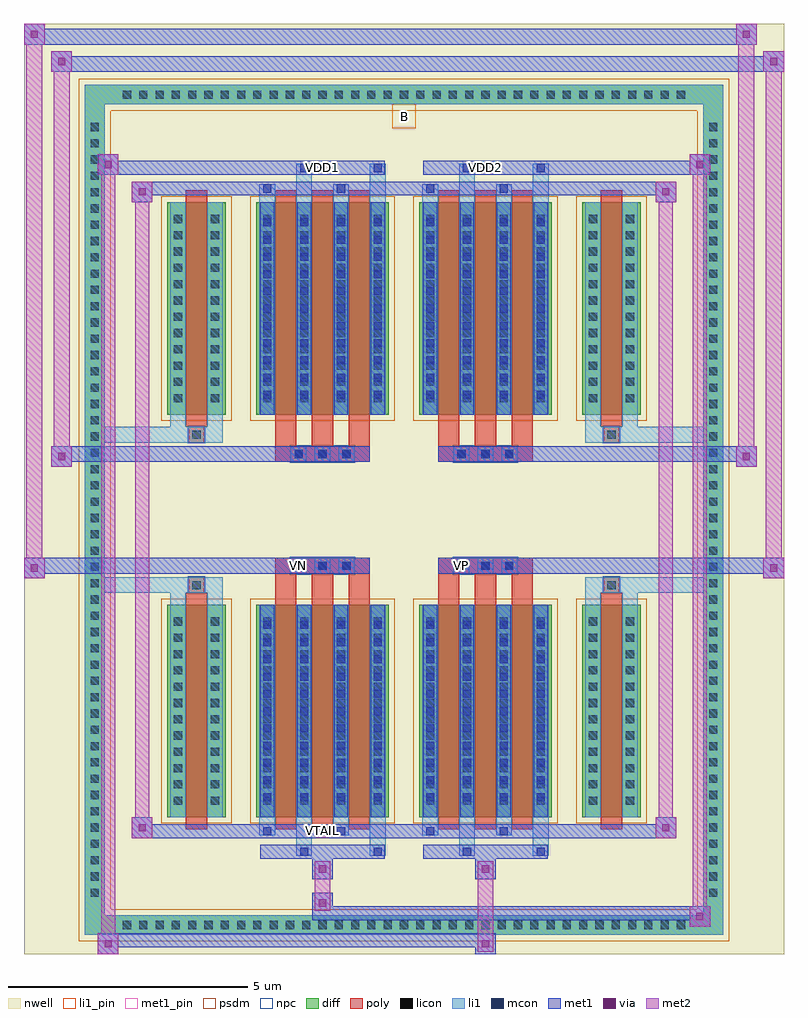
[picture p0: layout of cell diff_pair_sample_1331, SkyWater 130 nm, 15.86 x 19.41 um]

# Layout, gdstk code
import gdstk
lib = gdstk.Library(unit=1e-6, precision=5e-09)
def R(c, l, rs):  # rectangles x0, y0, x1, y1
    for r in rs: c.add(gdstk.rectangle(r[:2], r[2:], *l))
def A(c, l, x, y, w, h, nx, ny, dx, dy):  # array of equal rectangles
    R(c, l, [(x+i*dx, y+j*dy, x+i*dx+w, y+j*dy+h) for i in range(nx) for j in range(ny)])
def P(c, l, *ps):  # polygons
    for p in ps: c.add(gdstk.Polygon(p, *l))
nwell = (64, 20)
diff = (65, 20)
poly = (66, 20)
licon = (66, 44)
li1_pin = (67, 16)
li1 = (67, 20)
mcon = (67, 44)
met1_pin = (68, 16)
met1 = (68, 20)
via = (68, 44)
met2 = (69, 20)
psdm = (94, 20)
npc = (95, 20)

diff_pair_sample_1331 = lib.new_cell('diff_pair_sample_1331')
R(diff_pair_sample_1331, nwell, [(-7.93,-9.27,7.93,10.14), (-5.25,-7.46,-0.01,-0.8), (0.01,-7.46,5.25,-0.8), (-5.25,0.8,-0.01,7.46), (0.01,0.8,5.25,7.46)])
A(diff_pair_sample_1331, diff, -5.985, -8.87, 0.41, 0.41, 35, 2, 0.34, 17.33)
A(diff_pair_sample_1331, diff, -6.66, -8.195, 0.41, 0.41, 1, 48, 0, 0.34)
A(diff_pair_sample_1331, diff, 6.25, -8.195, 0.41, 0.41, 1, 48, 0, 0.34)
R(diff_pair_sample_1331, diff, [(-5.985,-8.87,5.985,-8.46), (-6.66,-8.195,-6.25,8.195), (6.25,-8.195,6.66,8.195), (-4.94,-6.415,-3.72,-1.985), (-3.08,-6.415,-0.32,-1.985), (0.32,-6.415,3.08,-1.985), (3.72,-6.415,4.94,-1.985), (-4.94,1.985,-3.72,6.415), (-3.08,1.985,-0.32,6.415), (0.32,1.985,3.08,6.415), (3.72,1.985,4.94,6.415), (-5.985,8.46,5.985,8.87)])
P(diff_pair_sample_1331, diff, [(6.66,8.87),(-6.66,8.87),(-6.66,-8.46),(-6.25,-8.46),(-6.25,8.46),(6.25,8.46),(6.25,-8.46),(-6.25,-8.46),(-6.66,-8.46),(-6.66,-8.87),(6.66,-8.87)])
A(diff_pair_sample_1331, poly, -2.69, -6.665, 0.44, 4.93, 3, 2, 0.77, 8.4)
A(diff_pair_sample_1331, poly, 0.71, -6.665, 0.44, 4.93, 3, 2, 0.77, 8.4)
A(diff_pair_sample_1331, poly, -2.69, -1.735, 0.44, 0.405, 3, 2, 0.77, 3.065)
A(diff_pair_sample_1331, poly, 0.71, -1.735, 0.44, 0.405, 3, 2, 0.77, 3.065)
A(diff_pair_sample_1331, poly, -2.365, -1.33, 0.33, 0.33, 3, 2, 0.5, 2.33)
A(diff_pair_sample_1331, poly, 1.035, -1.33, 0.33, 0.33, 3, 2, 0.5, 2.33)
R(diff_pair_sample_1331, poly, [(-4.55,-6.665,-4.11,-1.735), (4.11,-6.665,4.55,-1.735), (-4.495,-1.735,-4.165,-1.405), (-4.495,-1.735,-4.165,-1.405), (4.165,-1.735,4.495,-1.405), (4.165,-1.735,4.495,-1.405), (-2.69,-1.33,-0.71,-1), (0.71,-1.33,2.69,-1), (-2.69,1,-0.71,1.33), (0.71,1,2.69,1.33), (-4.495,1.405,-4.165,1.735), (-4.495,1.405,-4.165,1.735), (4.165,1.405,4.495,1.735), (4.165,1.405,4.495,1.735), (-4.55,1.735,-4.11,6.665), (4.11,1.735,4.55,6.665)])
A(diff_pair_sample_1331, licon, -5.865, -8.75, 0.17, 0.17, 35, 2, 0.34, 17.33)
A(diff_pair_sample_1331, licon, -6.54, -8.075, 0.17, 0.17, 1, 48, 0, 0.34)
A(diff_pair_sample_1331, licon, 6.37, -8.075, 0.17, 0.17, 1, 48, 0, 0.34)
A(diff_pair_sample_1331, licon, -4.8, -6.155, 0.17, 0.17, 1, 12, 0, 0.34)
A(diff_pair_sample_1331, licon, -4.03, -6.155, 0.17, 0.17, 1, 12, 0, 0.34)
A(diff_pair_sample_1331, licon, -2.94, -6.155, 0.17, 0.17, 4, 12, 0.77, 0.34)
A(diff_pair_sample_1331, licon, 0.46, -6.155, 0.17, 0.17, 4, 12, 0.77, 0.34)
A(diff_pair_sample_1331, licon, 3.86, -6.155, 0.17, 0.17, 1, 12, 0, 0.34)
A(diff_pair_sample_1331, licon, 4.63, -6.155, 0.17, 0.17, 1, 12, 0, 0.34)
A(diff_pair_sample_1331, licon, -2.285, -1.25, 0.17, 0.17, 3, 2, 0.5, 2.33)
A(diff_pair_sample_1331, licon, 1.115, -1.25, 0.17, 0.17, 3, 2, 0.5, 2.33)
A(diff_pair_sample_1331, licon, -4.8, 2.245, 0.17, 0.17, 1, 12, 0, 0.34)
A(diff_pair_sample_1331, licon, -4.03, 2.245, 0.17, 0.17, 1, 12, 0, 0.34)
A(diff_pair_sample_1331, licon, -2.94, 2.245, 0.17, 0.17, 4, 12, 0.77, 0.34)
A(diff_pair_sample_1331, licon, 0.46, 2.245, 0.17, 0.17, 4, 12, 0.77, 0.34)
A(diff_pair_sample_1331, licon, 3.86, 2.245, 0.17, 0.17, 1, 12, 0, 0.34)
A(diff_pair_sample_1331, licon, 4.63, 2.245, 0.17, 0.17, 1, 12, 0, 0.34)
R(diff_pair_sample_1331, licon, [(-4.415,-1.655,-4.245,-1.485), (4.245,-1.655,4.415,-1.485), (-4.415,1.485,-4.245,1.655), (4.245,1.485,4.415,1.655)])
R(diff_pair_sample_1331, li1_pin, [(-0.25,7.96,0.25,8.46)])
A(diff_pair_sample_1331, li1, -5.945, -8.83, 0.33, 0.33, 35, 2, 0.34, 17.33)
A(diff_pair_sample_1331, li1, -6.62, -8.155, 0.33, 0.33, 1, 48, 0, 0.34)
A(diff_pair_sample_1331, li1, 6.29, -8.155, 0.33, 0.33, 1, 48, 0, 0.34)
A(diff_pair_sample_1331, li1, -3.02, -6.415, 0.33, 4.43, 4, 2, 0.77, 8.4)
A(diff_pair_sample_1331, li1, 0.38, -6.415, 0.33, 4.43, 4, 2, 0.77, 8.4)
A(diff_pair_sample_1331, li1, -4.88, -6.235, 0.33, 0.33, 1, 12, 0, 0.34)
A(diff_pair_sample_1331, li1, -4.11, -6.235, 0.33, 0.33, 1, 12, 0, 0.34)
A(diff_pair_sample_1331, li1, -3.02, -6.235, 0.33, 0.33, 4, 12, 0.77, 0.34)
A(diff_pair_sample_1331, li1, 0.38, -6.235, 0.33, 0.33, 4, 12, 0.77, 0.34)
A(diff_pair_sample_1331, li1, 3.78, -6.235, 0.33, 0.33, 1, 12, 0, 0.34)
A(diff_pair_sample_1331, li1, 4.55, -6.235, 0.33, 0.33, 1, 12, 0, 0.34)
A(diff_pair_sample_1331, li1, -2.94, -6.085, 0.17, 0.17, 4, 11, 0.77, 0.36)
A(diff_pair_sample_1331, li1, -2.94, -6.085, 0.17, 3.77, 4, 2, 0.77, 8.4)
A(diff_pair_sample_1331, li1, 0.46, -6.085, 0.17, 0.17, 4, 11, 0.77, 0.36)
A(diff_pair_sample_1331, li1, 0.46, -6.085, 0.17, 3.77, 4, 2, 0.77, 8.4)
A(diff_pair_sample_1331, li1, -2.365, -1.33, 0.33, 0.33, 3, 2, 0.5, 2.33)
A(diff_pair_sample_1331, li1, 1.035, -1.33, 0.33, 0.33, 3, 2, 0.5, 2.33)
A(diff_pair_sample_1331, li1, -4.88, 2.165, 0.33, 0.33, 1, 12, 0, 0.34)
A(diff_pair_sample_1331, li1, -4.11, 2.165, 0.33, 0.33, 1, 12, 0, 0.34)
A(diff_pair_sample_1331, li1, -3.02, 2.165, 0.33, 0.33, 4, 12, 0.77, 0.34)
A(diff_pair_sample_1331, li1, 0.38, 2.165, 0.33, 0.33, 4, 12, 0.77, 0.34)
A(diff_pair_sample_1331, li1, 3.78, 2.165, 0.33, 0.33, 1, 12, 0, 0.34)
A(diff_pair_sample_1331, li1, 4.55, 2.165, 0.33, 0.33, 1, 12, 0, 0.34)
A(diff_pair_sample_1331, li1, -2.94, 2.315, 0.17, 0.17, 4, 11, 0.77, 0.36)
A(diff_pair_sample_1331, li1, 0.46, 2.315, 0.17, 0.17, 4, 11, 0.77, 0.36)
R(diff_pair_sample_1331, li1, [(-6.66,-8.87,-6.25,-8.46), (-6.66,-8.87,-6.25,-8.46), (-6.25,-8.87,6.25,-8.46), (6.25,-8.87,6.66,-8.46), (6.25,-8.87,6.66,-8.46), (-6.66,-8.46,-6.25,8.46), (6.25,-8.46,6.66,8.46), (-2.25,-7.22,-1.92,-6.415), (-2.17,-7.22,-2,-7.05), (-0.71,-7.22,-0.38,-6.415), (-0.63,-7.22,-0.46,-7.05), (1.15,-7.22,1.48,-6.415), (1.23,-7.22,1.4,-7.05), (2.69,-7.22,3.02,-6.415), (2.77,-7.22,2.94,-7.05), (-3.02,-6.79,-2.69,-6.415), (-2.94,-6.79,-2.77,-6.62), (-1.48,-6.79,-1.15,-6.415), (-1.4,-6.79,-1.23,-6.62), (0.38,-6.79,0.71,-6.415), (0.46,-6.79,0.63,-6.62), (1.92,-6.79,2.25,-6.415), (2,-6.79,2.17,-6.62), (-4.88,-6.415,-4.55,-1.985), (-4.11,-6.415,-3.78,-1.985), (3.78,-6.415,4.11,-1.985), (4.55,-6.415,4.88,-1.985), (-4.88,-1.985,-4.55,-1.405), (-4.11,-1.985,-3.78,-1.405), (3.78,-1.985,4.11,-1.405), (4.55,-1.985,4.88,-1.405), (-6.66,-1.735,-4.495,-1.405), (-4.88,-1.735,-4.495,-1.405), (-4.495,-1.735,-4.165,-1.405), (-4.165,-1.735,-3.78,-1.405), (3.78,-1.735,4.165,-1.405), (4.165,-1.735,4.495,-1.405), (4.165,-1.735,6.66,-1.405), (4.495,-1.735,4.88,-1.405), (-6.66,1.405,-4.495,1.735), (-4.88,1.405,-4.495,1.735), (-4.88,1.405,-4.55,1.985), (-4.495,1.405,-4.165,1.735), (-4.165,1.405,-3.78,1.735), (-4.11,1.405,-3.78,1.985), (3.78,1.405,4.165,1.735), (3.78,1.405,4.11,1.985), (4.165,1.405,4.495,1.735), (4.165,1.405,6.66,1.735), (4.495,1.405,4.88,1.735), (4.55,1.405,4.88,1.985), (-4.88,1.985,-4.55,6.415), (-4.11,1.985,-3.78,6.415), (3.78,1.985,4.11,6.415), (4.55,1.985,4.88,6.415), (-3.02,6.415,-2.69,6.79), (-2.25,6.415,-1.92,7.22), (-1.48,6.415,-1.15,6.79), (-0.71,6.415,-0.38,7.22), (0.38,6.415,0.71,6.79), (1.15,6.415,1.48,7.22), (1.92,6.415,2.25,6.79), (2.69,6.415,3.02,7.22), (-2.94,6.62,-2.77,6.79), (-1.4,6.62,-1.23,6.79), (0.46,6.62,0.63,6.79), (2,6.62,2.17,6.79), (-2.17,7.05,-2,7.22), (-0.63,7.05,-0.46,7.22), (1.23,7.05,1.4,7.22), (2.77,7.05,2.94,7.22), (-6.66,8.46,-6.25,8.87), (-6.66,8.46,-6.25,8.87), (-6.25,8.46,6.25,8.87), (6.25,8.46,6.66,8.87), (6.25,8.46,6.66,8.87)])
A(diff_pair_sample_1331, mcon, -2.94, -6.085, 0.17, 0.17, 4, 11, 0.77, 0.36)
A(diff_pair_sample_1331, mcon, 0.46, -6.085, 0.17, 0.17, 4, 11, 0.77, 0.36)
A(diff_pair_sample_1331, mcon, -2.285, -1.25, 0.17, 0.17, 3, 2, 0.5, 2.33)
A(diff_pair_sample_1331, mcon, 1.115, -1.25, 0.17, 0.17, 3, 2, 0.5, 2.33)
A(diff_pair_sample_1331, mcon, -2.94, 2.315, 0.17, 0.17, 4, 11, 0.77, 0.36)
A(diff_pair_sample_1331, mcon, 0.46, 2.315, 0.17, 0.17, 4, 11, 0.77, 0.36)
R(diff_pair_sample_1331, mcon, [(-2.17,-7.22,-2,-7.05), (-0.63,-7.22,-0.46,-7.05), (1.23,-7.22,1.4,-7.05), (2.77,-7.22,2.94,-7.05), (-2.94,-6.79,-2.77,-6.62), (-1.4,-6.79,-1.23,-6.62), (0.46,-6.79,0.63,-6.62), (2,-6.79,2.17,-6.62), (-2.94,6.62,-2.77,6.79), (-1.4,6.62,-1.23,6.79), (0.46,6.62,0.63,6.79), (2,6.62,2.17,6.79), (-2.17,7.05,-2,7.22), (-0.63,7.05,-0.46,7.22), (1.23,7.05,1.4,7.22), (2.77,7.05,2.94,7.22)])
R(diff_pair_sample_1331, met1_pin, [(-1.835,-6.83,-1.565,-6.56), (-2.335,-1.29,-2.065,-1.02), (1.065,-1.29,1.335,-1.02), (-1.835,7.01,-1.565,7.28), (1.565,7.01,1.835,7.28)])
A(diff_pair_sample_1331, met1, -3, -6.415, 0.29, 4.43, 4, 2, 0.77, 8.4)
A(diff_pair_sample_1331, met1, 0.4, -6.415, 0.29, 4.43, 4, 2, 0.77, 8.4)
A(diff_pair_sample_1331, met1, -3, -6.145, 0.29, 0.29, 4, 11, 0.77, 0.36)
A(diff_pair_sample_1331, met1, 0.4, -6.145, 0.29, 0.29, 4, 11, 0.77, 0.36)
A(diff_pair_sample_1331, met1, -2.345, -1.31, 0.29, 0.29, 3, 2, 0.5, 2.33)
A(diff_pair_sample_1331, met1, 1.055, -1.31, 0.29, 0.29, 3, 2, 0.5, 2.33)
A(diff_pair_sample_1331, met1, -3, 2.255, 0.29, 0.29, 4, 11, 0.77, 0.36)
A(diff_pair_sample_1331, met1, 0.4, 2.255, 0.29, 0.29, 4, 11, 0.77, 0.36)
R(diff_pair_sample_1331, met1, [(-6.39,-9.27,-5.96,-8.84), (1.485,-9.27,1.915,-8.84), (-6.39,-9.13,1.915,-8.84), (5.96,-8.7,6.39,-8.27), (-1.915,-8.56,6.39,-8.27), (-1.915,-8.42,-1.485,-7.99), (-1.915,-7.71,-1.485,-7.28), (1.485,-7.71,1.915,-7.28), (-3,-7.28,-0.4,-6.99), (-2.23,-7.28,-1.94,-6.99), (-0.69,-7.28,-0.4,-6.99), (0.4,-7.28,3,-6.99), (1.17,-7.28,1.46,-6.99), (2.71,-7.28,3,-6.99), (-5.68,-6.85,-5.25,-6.42), (-5.68,-6.85,-3,-6.56), (-3,-6.85,-2.71,-6.56), (-3,-6.85,-0.4,-6.56), (-1.46,-6.85,-1.17,-6.56), (-0.4,-6.85,0.4,-6.56), (0.4,-6.85,0.69,-6.56), (0.4,-6.85,3,-6.56), (1.94,-6.85,2.23,-6.56), (3,-6.85,5.68,-6.56), (5.25,-6.85,5.68,-6.42), (-7.93,-1.43,-7.5,-1), (7.5,-1.43,7.93,-1), (-7.93,-1.33,-0.71,-1), (-2.69,-1.33,-0.71,-1), (0.71,-1.33,2.69,-1), (0.71,-1.33,7.93,-1), (-7.36,0.9,-6.93,1.33), (6.93,0.9,7.36,1.33), (-7.36,1,-2.69,1.33), (-2.69,1,-0.71,1.33), (0.71,1,2.69,1.33), (2.69,1,7.36,1.33), (-5.68,6.42,-5.25,6.85), (5.25,6.42,5.68,6.85), (-5.68,6.56,-3,6.85), (-3,6.56,-2.71,6.85), (-3,6.56,-0.4,6.85), (-1.46,6.56,-1.17,6.85), (-0.4,6.56,0.4,6.85), (0.4,6.56,0.69,6.85), (0.4,6.56,3,6.85), (1.94,6.56,2.23,6.85), (3,6.56,5.68,6.85), (-6.39,6.99,-5.96,7.42), (-6.39,6.99,-3,7.28), (-3,6.99,-0.4,7.28), (-2.23,6.99,-1.94,7.28), (-0.69,6.99,-0.4,7.28), (0.4,6.99,3,7.28), (1.17,6.99,1.46,7.28), (2.71,6.99,3,7.28), (3,6.99,6.39,7.28), (5.96,6.99,6.39,7.42), (-7.36,9.14,-6.93,9.57), (-7.36,9.14,-5.25,9.47), (-5.25,9.14,5.25,9.47), (5.25,9.14,7.93,9.47), (7.5,9.14,7.93,9.57), (-7.93,9.71,-7.5,10.14), (-7.93,9.71,-5.25,10.04), (-5.25,9.71,5.25,10.04), (5.25,9.71,7.36,10.04), (6.93,9.71,7.36,10.14)])
R(diff_pair_sample_1331, via, [(-6.25,-9.13,-6.1,-8.98), (1.625,-9.13,1.775,-8.98), (6.1,-8.56,6.25,-8.41), (-1.775,-8.28,-1.625,-8.13), (-1.775,-7.57,-1.625,-7.42), (1.625,-7.57,1.775,-7.42), (-5.54,-6.71,-5.39,-6.56), (5.39,-6.71,5.54,-6.56), (-7.79,-1.29,-7.64,-1.14), (7.64,-1.29,7.79,-1.14), (-7.22,1.04,-7.07,1.19), (7.07,1.04,7.22,1.19), (-5.54,6.56,-5.39,6.71), (5.39,6.56,5.54,6.71), (-6.25,7.13,-6.1,7.28), (6.1,7.13,6.25,7.28), (-7.22,9.28,-7.07,9.43), (7.64,9.28,7.79,9.43), (-7.79,9.85,-7.64,10), (7.07,9.85,7.22,10)])
R(diff_pair_sample_1331, met2, [(-6.39,-9.27,-5.96,-8.84), (-6.32,-9.27,-6.03,7.42), (-6.03,-9.27,-5.96,-8.84), (-6.34,-9.22,-6.01,-8.89), (1.535,-9.22,1.865,-8.89), (1.535,-8.89,1.865,-7.66), (5.96,-8.7,6.39,-8.27), (6.03,-8.7,6.32,7.42), (6.32,-8.7,6.39,-8.27), (6.01,-8.65,6.34,-8.32), (-1.865,-8.37,-1.535,-8.04), (-1.865,-8.04,-1.535,-7.66), (-1.865,-7.66,-1.535,-7.33), (1.535,-7.66,1.865,-7.33), (-5.68,-6.85,-5.25,-6.42), (-5.61,-6.85,-5.32,6.85), (-5.32,-6.85,-5.25,-6.42), (5.25,-6.85,5.68,-6.42), (5.32,-6.85,5.61,6.85), (5.61,-6.85,5.68,-6.42), (-5.63,-6.8,-5.3,-6.47), (5.3,-6.8,5.63,-6.47), (-7.93,-1.43,-7.5,-1), (-7.88,-1.43,-7.55,10.14), (-7.55,-1.43,-7.5,-1), (7.5,-1.43,7.93,-1), (7.55,-1.43,7.88,9.57), (7.88,-1.43,7.93,-1), (-7.88,-1.38,-7.55,-1.05), (7.55,-1.38,7.88,-1.05), (-7.36,0.9,-6.93,1.33), (-7.31,0.9,-6.98,9.57), (-6.98,0.9,-6.93,1.33), (6.93,0.9,7.36,1.33), (6.98,0.9,7.31,10.14), (7.31,0.9,7.36,1.33), (-7.31,0.95,-6.98,1.28), (6.98,0.95,7.31,1.28), (-5.68,6.42,-5.25,6.85), (-5.32,6.42,-5.25,6.85), (5.25,6.42,5.68,6.85), (5.61,6.42,5.68,6.85), (-5.63,6.47,-5.3,6.8), (5.3,6.47,5.63,6.8), (-6.39,6.99,-5.96,7.42), (-6.03,6.99,-5.96,7.42), (5.96,6.99,6.39,7.42), (6.32,6.99,6.39,7.42), (-6.34,7.04,-6.01,7.37), (6.01,7.04,6.34,7.37), (-7.36,9.14,-6.93,9.57), (-6.98,9.14,-6.93,9.57), (7.5,9.14,7.93,9.57), (7.88,9.14,7.93,9.57), (-7.31,9.19,-6.98,9.52), (7.55,9.19,7.88,9.52), (-7.93,9.71,-7.5,10.14), (-7.55,9.71,-7.5,10.14), (6.93,9.71,7.36,10.14), (7.31,9.71,7.36,10.14), (-7.88,9.76,-7.55,10.09), (6.98,9.76,7.31,10.09)])
R(diff_pair_sample_1331, psdm, [(-5.07,-6.545,-3.59,-1.855), (-3.21,-6.545,-0.19,-1.855), (0.19,-6.545,3.21,-1.855), (3.59,-6.545,5.07,-1.855), (-5.07,1.855,-3.59,6.545), (-3.21,1.855,-0.19,6.545), (0.19,1.855,3.21,6.545), (3.59,1.855,5.07,6.545)])
P(diff_pair_sample_1331, psdm, [(6.79,9),(-6.79,9),(-6.79,-8.33),(-6.12,-8.33),(-6.12,8.33),(6.12,8.33),(6.12,-8.33),(-6.12,-8.33),(-6.79,-8.33),(-6.79,-9),(6.79,-9)])
A(diff_pair_sample_1331, npc, -2.385, -1.35, 0.37, 0.37, 3, 2, 0.5, 2.33)
A(diff_pair_sample_1331, npc, 1.015, -1.35, 0.37, 0.37, 3, 2, 0.5, 2.33)
R(diff_pair_sample_1331, npc, [(-4.515,-1.755,-4.145,-1.385), (4.145,-1.755,4.515,-1.385), (-2.385,-1.35,-1.515,-0.98), (-2.385,-1.35,-1.515,-0.98), (-1.885,-1.35,-1.015,-0.98), (-1.885,-1.35,-1.015,-0.98), (1.015,-1.35,1.885,-0.98), (1.015,-1.35,1.885,-0.98), (1.515,-1.35,2.385,-0.98), (1.515,-1.35,2.385,-0.98), (-2.385,0.98,-1.515,1.35), (-2.385,0.98,-1.515,1.35), (-1.885,0.98,-1.015,1.35), (-1.885,0.98,-1.015,1.35), (1.015,0.98,1.885,1.35), (1.015,0.98,1.885,1.35), (1.515,0.98,2.385,1.35), (1.515,0.98,2.385,1.35), (-4.515,1.385,-4.145,1.755), (4.145,1.385,4.515,1.755)])
diff_pair_sample_1331.add(gdstk.Label('VTAIL', (-1.7,-6.695), layer=68, texttype=5))
diff_pair_sample_1331.add(gdstk.Label('VN', (-2.2,-1.155), layer=68, texttype=5))
diff_pair_sample_1331.add(gdstk.Label('VP', (1.2,-1.155), layer=68, texttype=5))
diff_pair_sample_1331.add(gdstk.Label('B', (0,8.21), layer=67, texttype=5))
diff_pair_sample_1331.add(gdstk.Label('VDD2', (1.7,7.145), layer=68, texttype=5))
diff_pair_sample_1331.add(gdstk.Label('VDD1', (-1.7,7.145), layer=68, texttype=5))

lib.write_gds('diff_pair_sample_1331.gds')
